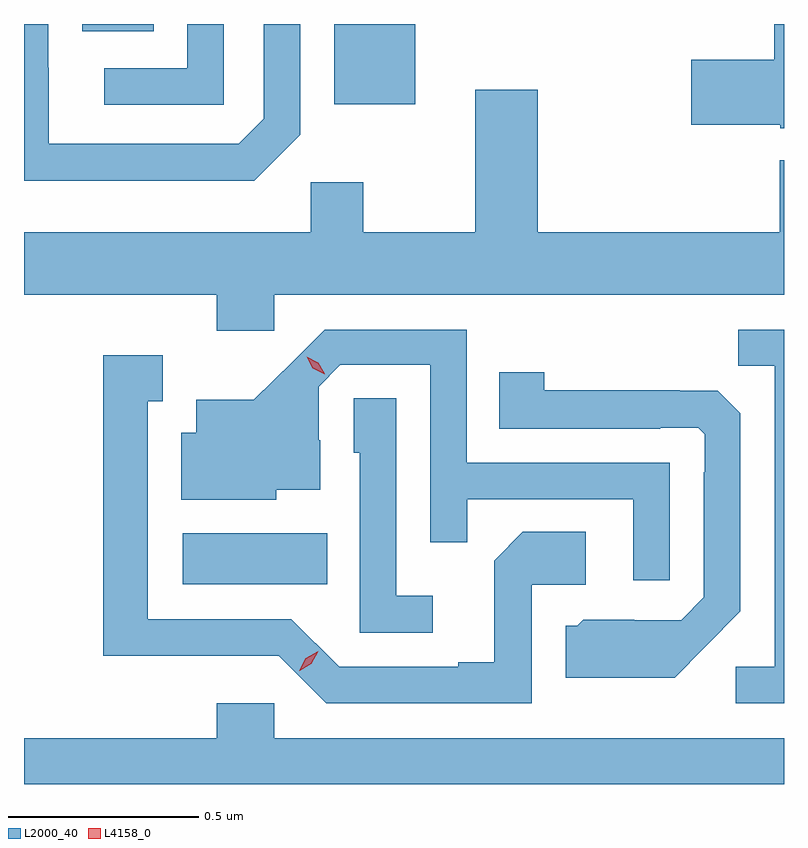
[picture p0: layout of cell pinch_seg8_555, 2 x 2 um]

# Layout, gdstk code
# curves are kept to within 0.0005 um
import gdstk
lib = gdstk.Library(unit=1e-6, precision=1e-09)
def R(c, l, rs):  # rectangles x0, y0, x1, y1
    for r in rs: c.add(gdstk.rectangle(r[:2], r[2:], *l))
def P(c, l, *ps):  # polygons
    for p in ps: c.add(gdstk.Polygon(p, *l))
L2000_40 = (2000, 40)
L4158_0 = (4158, 0)

pinch_seg8_555 = lib.new_cell('pinch_seg8_555')
R(pinch_seg8_555, L2000_40, [(116.286,1113.074,116.666,1113.208), (116.684,1114.337,116.897,1114.548), (116.021,1114.529,116.209,1114.548)])
P(pinch_seg8_555, L2000_40, [(116.595,1114.257),(116.595,1114.548),(116.499,1114.548),(116.499,1114.299),(116.433,1114.233),(115.933,1114.233),(115.933,1114.433),(115.932,1114.433),(115.932,1114.548),(115.868,1114.548),(115.868,1114.136),(116.474,1114.136)],
  [(117.868,1114.548),(117.842,1114.548),(117.842,1114.454),(117.624,1114.454),(117.624,1114.283),(117.858,1114.283),(117.858,1114.274),(117.868,1114.274)],
  [(116.394,1114.548),(116.298,1114.548),(116.298,1114.431),(116.079,1114.431),(116.079,1114.335),(116.394,1114.335)],
  [(116.526,1113.836),(117.868,1113.836),(117.868,1114.189),(117.857,1114.189),(117.857,1114),(117.22,1114),(117.22,1114.375),(117.056,1114.375),(117.056,1114),(116.761,1114),(116.761,1114.132),(116.622,1114.132),(116.622,1114),(115.868,1114),(115.868,1113.836),(116.375,1113.836),(116.375,1113.741),(116.526,1113.741)],
  [(117.567,1113.393),(117.033,1113.393),(117.033,1113.744),(116.66,1113.744),(116.473,1113.559),(116.321,1113.559),(116.321,1113.472),(116.282,1113.472),(116.282,1113.296),(116.532,1113.296),(116.532,1113.323),(116.647,1113.323),(116.647,1113.452),(116.643,1113.452),(116.643,1113.594),(116.7,1113.651),(116.937,1113.651),(116.937,1113.184),(117.035,1113.184),(117.035,1113.297),(117.471,1113.297),(117.471,1113.084),(117.567,1113.084)],
  [(117.868,1113.744),(117.748,1113.744),(117.748,1113.649),(117.843,1113.649),(117.843,1112.856),(117.741,1112.856),(117.741,1112.76),(117.868,1112.76)],
  [(117.204,1113.072),(117.346,1113.072),(117.346,1113.212),(117.181,1113.212),(117.105,1113.136),(117.105,1112.869),(117.011,1112.869),(117.011,1112.856),(116.697,1112.856),(116.571,1112.982),(116.194,1112.982),(116.194,1113.555),(116.233,1113.555),(116.233,1113.676),(116.076,1113.676),(116.076,1112.885),(116.316,1112.885),(116.316,1112.886),(116.538,1112.886),(116.664,1112.76),(117.204,1112.76)],
  [(117.661,1112.909),(117.753,1113.002),(117.753,1113.524),(117.694,1113.583),(117.593,1113.583),(117.593,1113.584),(117.237,1113.584),(117.237,1113.631),(117.118,1113.631),(117.118,1113.483),(117.542,1113.483),(117.542,1113.486),(117.642,1113.486),(117.66,1113.468),(117.66,1113.368),(117.657,1113.368),(117.657,1113.039),(117.597,1112.979),(117.474,1112.979),(117.474,1112.98),(117.34,1112.98),(117.324,1112.964),(117.293,1112.964),(117.293,1112.828),(117.581,1112.828)],
  [(116.944,1113.043),(116.847,1113.043),(116.847,1113.563),(116.736,1113.563),(116.736,1113.42),(116.751,1113.42),(116.751,1112.946),(116.944,1112.946)],
  [(117.868,1112.668),(116.526,1112.668),(116.526,1112.761),(116.375,1112.761),(116.375,1112.668),(115.868,1112.668),(115.868,1112.548),(117.868,1112.548)])
P(pinch_seg8_555, L4158_0, [(116.659,1113.626),(116.628,1113.642),(116.612,1113.672),(116.612,1113.672),(116.612,1113.672),(116.642,1113.657),(116.659,1113.627),(116.659,1113.626)],
  [(116.592,1112.846),(116.592,1112.846),(116.61,1112.879),(116.642,1112.898),(116.642,1112.898),(116.642,1112.897),(116.624,1112.865),(116.593,1112.846)])

lib.write_gds('pinch_seg8_555.gds')
